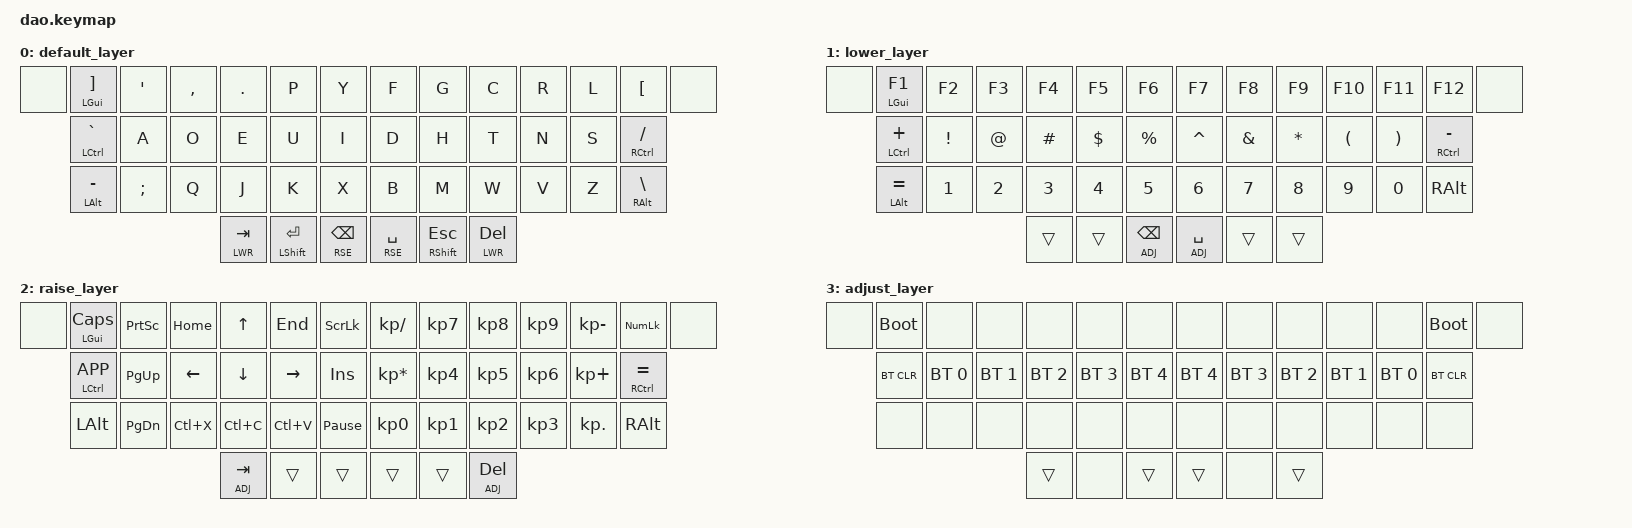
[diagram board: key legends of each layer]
/*
 * Copyright (c) 2021 Rafael Yumagulov
 *
 * SPDX-License-Identifier: MIT
 */

#include <behaviors.dtsi>
#include <dt-bindings/zmk/keys.h>
#include <dt-bindings/zmk/bt.h>

#define DEF 0
#define LWR 1
#define RSE 2
#define ADJ 3

&lt { quick_tap_ms = <200>; };
&mt { quick_tap_ms = <200>; };
&caps_word {
    mods = <(MOD_LSFT | MOD_LALT)>;
};

/ {
        keymap {
                compatible = "zmk,keymap";

                default_layer {
                        bindings = <
  &none   &mt LGUI RBKT     &kp SQT   &kp COMMA &kp DOT      &kp P          &kp Y            &kp F          &kp G           &kp C        &kp R   &kp L  &kp LBKT        &none
          &mt LCTRL GRAVE   &kp A     &kp O     &kp E        &kp U          &kp I            &kp D          &kp H           &kp T        &kp N   &kp S  &mt RCTRL FSLH
          &mt LALT MINUS    &kp SEMI  &kp Q     &kp J        &kp K          &kp X            &kp B          &kp M           &kp W        &kp V   &kp Z  &mt RALT BSLH
                                                &lt LWR TAB  &mt LSHFT RET  &lt RSE BSPC     &lt RSE SPACE  &mt RSHFT ESC   &lt LWR DEL
                         >;
                };
                lower_layer {
// -----------------------------------------------------------------------------------------
// |     |  _  |  F1 |  F2 |  F3 |  F4 |  F5 |   |  F6 |  F7 |  F8 |  F9 | F10 | F11 | F12 |
//       |  +  |  !  |  @  |  #  |  $  |  %  |   |  ^  |  &  |  *  |  (  |  )  |  -  |
//       |  =  |  1  |  2  |  3  |  4  |  5  |   |  6  |  7  |  8  |  9  |  0  |     |
//                    | GUI |     | SPC |   | ENT |     | ALT |
                        bindings = <
  &none   &mt LGUI F1      &kp F2     &kp F3   &kp F4        &kp F5     &kp F6           &kp F7         &kp F8     &kp F9        &kp F10    &kp F11    &kp F12           &none
          &mt LCTRL PLUS   &kp EXCL   &kp AT   &kp HASH      &kp DLLR   &kp PRCNT        &kp CARET      &kp AMPS   &kp STAR      &kp LPAR   &kp RPAR   &mt RCTRL MINUS
          &mt LALT EQUAL   &kp N1     &kp N2   &kp N3        &kp N4     &kp N5           &kp N6         &kp N7     &kp N8        &kp N9     &kp N0     &kp RALT
                                               &trans        &trans     &lt ADJ BSPC     &lt ADJ SPACE  &trans     &trans
                        >;
                };
                raise_layer {
// -----------------------------------------------------------------------------------------
// |     | VOLU| HOME| PRSC| PGUP| SCLK| CLCK|    | NMLK |  /  |  7  |  8  |  9  |  -  |    |
//       | MUT | LEFT|  UP | RGHT| INS | APP |    | CTRL |  *  |  4  |  5  |  6  |  +  |
//       | VOLD| END | DOWN| PGDN| PAUS|     |    |      |  0  |  1  |  2  |  3  |  .  |
//                         |     |     | ADJ |    | ADJ  |     |     |
//                        bindings = <
//  &none   &mt LGUI CLCK     &kp C_VOL_UP   &kp HOME   &kp UP      &kp PG_UP   &kp SLCK              &kp KP_SLASH      &kp KP_N7   &kp KP_N8   &kp KP_N9   &kp KP_MINUS   &kp KP_NUM        &none
//          &mt LCTRL K_APP   &kp C_MUTE     &kp LEFT   &kp DOWN    &kp RIGHT   &kp INS               &kp KP_MULTIPLY   &kp KP_N4   &kp KP_N5   &kp KP_N6   &kp KP_PLUS    &mt RCTRL EQUAL
//          &kp LALT          &kp C_VOL_DN   &kp END    &kp PSCRN   &kp PG_DN   &kp PAUSE_BREAK       &kp KP_N0         &kp KP_N1   &kp KP_N2   &kp KP_N3   &kp KP_DOT     &kp RALT
//                                                      &lt ADJ TAB &trans      &trans                &trans            &trans      &lt ADJ DEL
//                        >;
//                };
// |     | VOLU| HOME| PRSC| PGUP| SCLK| CLCK|    | NMLK |  /  |  7  |  8  |  9  |  -  |    |
//       | MUT | LEFT|  UP | RGHT| INS | APP |    | CTRL |  *  |  4  |  5  |  6  |  +  |
//       | VOLD| END | DOWN| PGDN| PAUS|     |    |      |  0  |  1  |  2  |  3  |  .  |
//                         |     |     | ADJ |    | ADJ  |     |     |
                        bindings = <
  &none   &mt LGUI CLCK     &kp PSCRN   &kp HOME   &kp UP      &kp END     &kp SLCK              &kp KP_SLASH      &kp KP_N7   &kp KP_N8   &kp KP_N9   &kp KP_MINUS   &kp KP_NUM        &none
          &mt LCTRL K_APP   &kp PG_UP   &kp LEFT   &kp DOWN    &kp RIGHT   &kp INS               &kp KP_MULTIPLY   &kp KP_N4   &kp KP_N5   &kp KP_N6   &kp KP_PLUS    &mt RCTRL EQUAL
          &kp LALT          &kp PG_DN   &kp LC(X)  &kp LC(C)   &kp LC(V)   &kp PAUSE_BREAK       &kp KP_N0         &kp KP_N1   &kp KP_N2   &kp KP_N3   &kp KP_DOT     &kp RALT
                                                   &lt ADJ TAB &trans      &trans                &trans            &trans      &lt ADJ DEL
                        >;
                };
                adjust_layer {
// -----------------------------------------------------------------------------------------
// | RST | BLDR |     |     |     |     |     |   |     |     |     |     |     | BLDR | RST |
//       | BTCLR| BT0 | BT1 | BT2 | BT3 | BT4 |   | BT4 | BT3 | BT2 | BT1 | BT0 | BTCLR|
//       |      |     |     |     |     |     |   |     |     |     |     |     |      |
//                          |     |     |     |   |     |     |     |
                        bindings = <
   &none &bootloader  &none        &none        &none        &none        &none              &none        &none        &none        &none        &none         &bootloader &none
          &bt BT_CLR   &bt BT_SEL 0 &bt BT_SEL 1 &bt BT_SEL 2 &bt BT_SEL 3 &bt BT_SEL 4       &bt BT_SEL 4 &bt BT_SEL 3 &bt BT_SEL 2 &bt BT_SEL 1 &bt BT_SEL 0  &bt BT_CLR
          &none        &none        &none        &none        &none        &none              &none        &none        &none        &none        &none         &none
                                                                    &trans &none &trans   &trans &none &trans
                        >;
                };
        };
};
